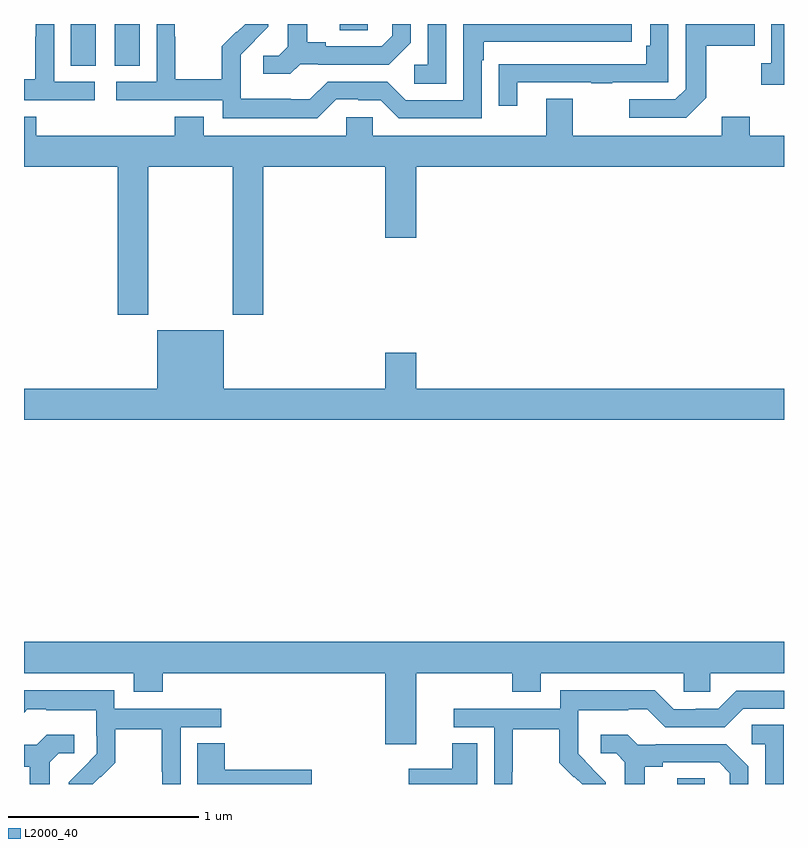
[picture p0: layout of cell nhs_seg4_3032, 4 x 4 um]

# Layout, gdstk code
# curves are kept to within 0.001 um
import gdstk
lib = gdstk.Library(unit=1e-6, precision=1e-09)
def R(c, l, rs):  # rectangles x0, y0, x1, y1
    for r in rs: c.add(gdstk.rectangle(r[:2], r[2:], *l))
def P(c, l, *ps):  # polygons
    for p in ps: c.add(gdstk.Polygon(p, *l))
L2000_40 = (2000, 40)

nhs_seg4_3032 = lib.new_cell('nhs_seg4_3032')
R(nhs_seg4_3032, L2000_40, [(274.439,798.9,274.584,798.929), (271.247,802.681,271.378,802.9), (271.478,802.681,271.609,802.9), (272.663,802.867,272.808,802.9)])
P(nhs_seg4_3032, L2000_40, [(273.222,802.9),(273.126,802.9),(273.126,802.686),(273.054,802.686),(273.054,802.585),(273.222,802.585)],
  [(275,802.9),(274.932,802.9),(274.932,802.694),(274.881,802.694),(274.881,802.581),(275,802.581)],
  [(274.591,802.513),(274.591,802.786),(274.847,802.786),(274.847,802.9),(274.482,802.9),(274.482,802.557),(274.428,802.503),(274.185,802.503),(274.185,802.407),(274.485,802.407)],
  [(272.643,802.503),(272.759,802.503),(272.759,802.5),(272.877,802.5),(272.973,802.404),(273.408,802.404),(273.408,802.709),(273.421,802.709),(273.421,802.806),(274.198,802.806),(274.198,802.9),(273.312,802.9),(273.312,802.5),(273.009,802.5),(272.913,802.596),(272.598,802.596),(272.505,802.503),(272.405,802.503),(272.405,802.507),(272.142,802.507),(272.142,802.641),(272.14,802.641),(272.14,802.738),(272.286,802.886),(272.286,802.9),(272.164,802.9),(272.121,802.857),(272.118,802.86),(272.041,802.783),(272.041,802.609),(271.797,802.609),(271.797,802.832),(271.794,802.832),(271.794,802.9),(271.698,802.9),(271.698,802.596),(271.485,802.596),(271.485,802.5),(272.046,802.5),(272.046,802.403),(272.543,802.403)],
  [(273.595,802.593),(273.985,802.593),(273.985,802.588),(274.097,802.588),(274.097,802.593),(274.392,802.593),(274.392,802.9),(274.296,802.9),(274.296,802.786),(274.276,802.786),(274.276,802.689),(273.601,802.689),(273.601,802.688),(273.499,802.688),(273.499,802.47),(273.595,802.47)],
  [(272.454,802.689),(272.548,802.689),(272.548,802.686),(272.92,802.686),(273.036,802.802),(273.036,802.9),(272.939,802.9),(272.939,802.839),(272.882,802.782),(272.587,802.782),(272.587,802.805),(272.491,802.805),(272.491,802.9),(272.387,802.9),(272.387,802.781),(272.34,802.734),(272.259,802.734),(272.259,802.637),(272.402,802.637)],
  [(271.372,802.596),(271.158,802.596),(271.158,802.9),(271.062,802.9),(271.062,802.832),(271.06,802.832),(271.06,802.609),(271,802.609),(271,802.5),(271.372,802.5)],
  [(275,802.312),(274.821,802.312),(274.821,802.411),(274.673,802.411),(274.673,802.312),(273.889,802.312),(273.889,802.507),(273.749,802.507),(273.749,802.312),(272.835,802.312),(272.835,802.41),(272.697,802.41),(272.697,802.312),(271.945,802.312),(271.945,802.411),(271.793,802.411),(271.793,802.312),(271.064,802.312),(271.064,802.411),(271,802.411),(271,802.148),(271.493,802.148),(271.493,801.369),(271.653,801.369),(271.653,802.148),(272.098,802.148),(272.098,801.369),(272.258,801.369),(272.258,802.148),(272.9,802.148),(272.9,801.774),(273.064,801.774),(273.064,802.148),(275,802.148)],
  [(275,800.98),(273.064,800.98),(273.064,801.169),(272.9,801.169),(272.9,800.98),(272.05,800.98),(272.05,801.289),(271.7,801.289),(271.7,800.98),(271,800.98),(271,800.816),(275,800.816)],
  [(273.064,799.484),(273.569,799.484),(273.569,799.385),(273.721,799.385),(273.721,799.484),(274.473,799.484),(274.473,799.386),(274.611,799.386),(274.611,799.484),(275,799.484),(275,799.648),(271,799.648),(271,799.484),(271.577,799.484),(271.577,799.385),(271.73,799.385),(271.73,799.484),(272.9,799.484),(272.9,799.11),(273.064,799.11)],
  [(271.401,798.939),(271.404,798.936),(271.481,799.013),(271.481,799.188),(271.726,799.188),(271.726,798.964),(271.728,798.964),(271.728,798.9),(271.824,798.9),(271.824,799.2),(272.038,799.2),(272.038,799.296),(271.476,799.296),(271.476,799.393),(271,799.393),(271,799.276),(271.017,799.293),(271.117,799.293),(271.117,799.289),(271.38,799.289),(271.38,799.155),(271.382,799.155),(271.382,799.058),(271.236,798.91),(271.236,798.9),(271.362,798.9)],
  [(273.57,798.964),(273.573,798.964),(273.573,799.188),(273.817,799.188),(273.817,799.013),(273.894,798.936),(273.897,798.939),(273.937,798.9),(274.062,798.9),(274.062,798.91),(273.916,799.058),(273.916,799.155),(273.918,799.155),(273.918,799.289),(274.181,799.289),(274.181,799.293),(274.281,799.293),(274.374,799.2),(274.689,799.2),(274.785,799.296),(275,799.296),(275,799.392),(274.749,799.392),(274.653,799.296),(274.535,799.296),(274.535,799.293),(274.419,799.293),(274.319,799.393),(273.822,799.393),(273.822,799.296),(273.261,799.296),(273.261,799.2),(273.474,799.2),(273.474,798.9),(273.57,798.9)],
  [(274.998,799.211),(274.83,799.211),(274.83,799.11),(274.902,799.11),(274.902,798.9),(274.998,798.9)],
  [(271.135,799.015),(271.182,799.062),(271.264,799.062),(271.264,799.159),(271.12,799.159),(271.068,799.107),(271,799.107),(271,798.992),(271.031,798.992),(271.031,798.9),(271.135,798.9)],
  [(274.267,798.992),(274.363,798.992),(274.363,799.014),(274.658,799.014),(274.715,798.957),(274.715,798.9),(274.812,798.9),(274.812,798.994),(274.696,799.11),(274.324,799.11),(274.324,799.107),(274.23,799.107),(274.178,799.159),(274.035,799.159),(274.035,799.062),(274.116,799.062),(274.163,799.015),(274.163,798.9),(274.267,798.9)],
  [(273.385,799.115),(273.254,799.115),(273.254,798.979),(273.024,798.979),(273.024,798.9),(273.385,798.9)],
  [(272.515,798.974),(272.057,798.974),(272.057,799.115),(271.913,799.115),(271.913,798.9),(272.515,798.9)])

lib.write_gds('nhs_seg4_3032.gds')
